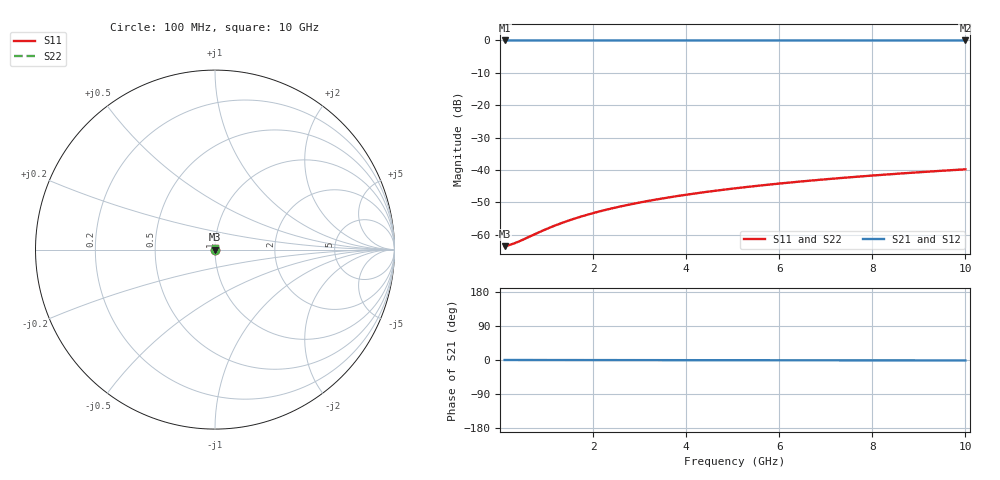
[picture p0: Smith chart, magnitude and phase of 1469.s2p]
# Hz S RI R 50.00
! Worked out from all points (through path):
!   100 points, 100 MHz to 10 GHz, reference 50 ohm
!   highest |S21| = -0.01 dB at 100 MHz (marker M1); lowest = 0.0 dB at 10 GHz (marker M2)
!   lowest |S11| = -63.6 dB at 100 MHz (marker M3), VSWR 1.00, Z = 50.1 + j0.0102 ohm
!   |S11| at or under -10 dB: start of sweep to end of sweep
!   |S22| runs from -63.6 to -39.8 dB; largest |S21 - S12| = 0
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1e8  0.000656 0.000102  0.9993 -0.000198  0.9993 -0.000198  0.000656 0.000102
2e8  0.000661 0.000203  0.9993 -0.000396  0.9993 -0.000396  0.000661 0.000203
3e8  0.000664 0.000305  0.9993 -0.000594  0.9993 -0.000594  0.000664 0.000305
4e8  0.000667 0.000407  0.9993 -0.000793  0.9993 -0.000793  0.000667 0.000407
9e8  0.000677 0.000916  0.9993 -0.00178  0.9993 -0.00178  0.000677 0.000916
1.2e9  0.000682 0.00122  0.9993 -0.00238  0.9993 -0.00238  0.000682 0.00122
1.5e9  0.000687 0.00153  0.9993 -0.00297  0.9993 -0.00297  0.000687 0.00153
1.8e9  0.000692 0.00183  0.9993 -0.00357  0.9993 -0.00357  0.000692 0.00183
2.1e9  0.000697 0.00214  0.9993 -0.00416  0.9993 -0.00416  0.000697 0.00214
2.5e9  0.000703 0.00254  0.9993 -0.00495  0.9993 -0.00495  0.000703 0.00254
2.9e9  0.000711 0.00295  0.9993 -0.00575  0.9993 -0.00575  0.000711 0.00295
3.4e9  0.00072 0.00346  0.9993 -0.00674  0.9993 -0.00674  0.00072 0.00346
3.8e9  0.000728 0.00387  0.9993 -0.00753  0.9993 -0.00753  0.000728 0.00387
4.2e9  0.000737 0.00427  0.9992 -0.00832  0.9992 -0.00832  0.000737 0.00427
4.6e9  0.000747 0.00468  0.9992 -0.00912  0.9992 -0.00912  0.000747 0.00468
5.1e9  0.000759 0.00519  0.9992 -0.0101  0.9992 -0.0101  0.000759 0.00519
5.9e9  0.000781 0.006  0.9992 -0.0117  0.9992 -0.0117  0.000781 0.006
6.7e9  0.000806 0.00682  0.9992 -0.0133  0.9992 -0.0133  0.000806 0.00682
7.5e9  0.000833 0.00763  0.9991 -0.0149  0.9991 -0.0149  0.000833 0.00763
8.4e9  0.000866 0.00855  0.9991 -0.0167  0.9991 -0.0167  0.000866 0.00855
9.2e9  0.000899 0.00936  0.9991 -0.0182  0.9991 -0.0182  0.000899 0.00936
1e10  0.000934 0.0102  0.999 -0.0198  0.999 -0.0198  0.000934 0.0102
